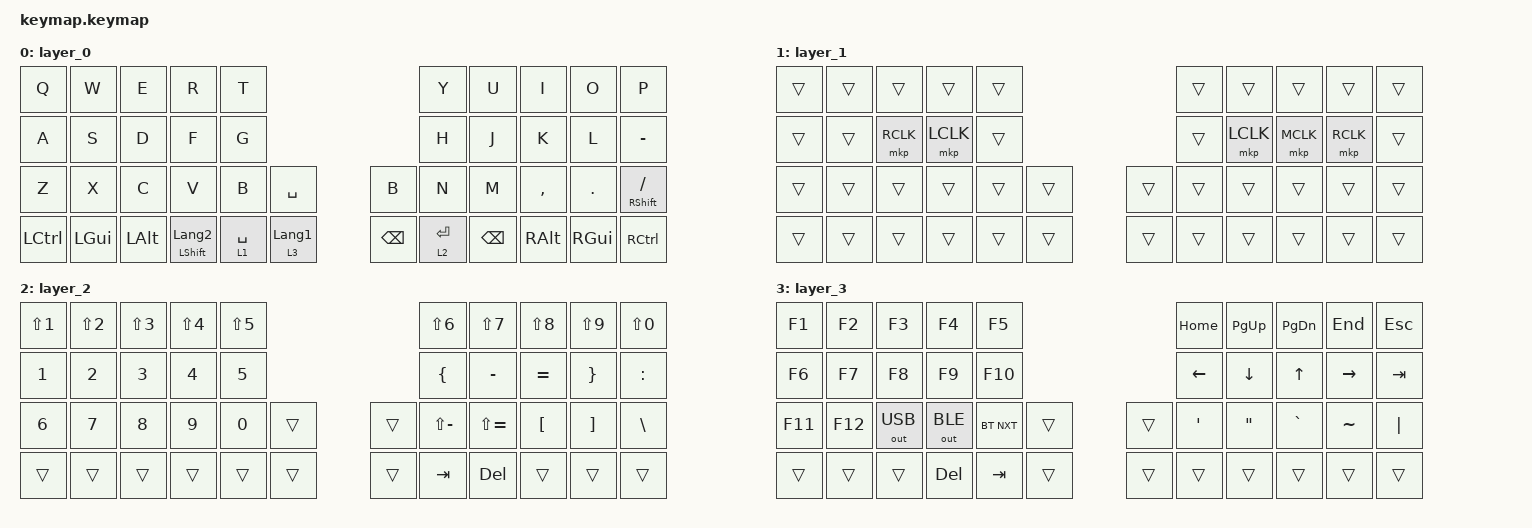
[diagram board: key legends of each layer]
#include <behaviors.dtsi>
#include <dt-bindings/zmk/bt.h>
#include <dt-bindings/zmk/keys.h>
#include <dt-bindings/zmk/outputs.h>
#include <dt-bindings/zmk/pointing.h>
#include <input/processors.dtsi>

/ {
    combos {
        compatible = "zmk,combos";

        bt_clear {
            bindings = <&bt BT_CLR>;
            key-positions = <16 17>;
            layers = <2>;
        };
    };


    keymap {
        compatible = "zmk,keymap";

        layer_0 {
            bindings = <
&kp Q      &kp W     &kp E     &kp R     &kp T                                                          &kp Y        &kp U     &kp I      &kp O     &kp P
&kp A      &kp S     &kp D     &kp F     &kp G                                                          &kp H        &kp J     &kp K      &kp L     &kp MINUS
&kp Z      &kp X     &kp C     &kp V     &kp B        &kp SPACE                  &kp B                  &kp N        &kp M     &kp COMMA  &kp DOT   &mt RIGHT_SHIFT FSLH
&kp LCTRL  &kp LGUI  &kp LALT  &mt LSHIFT LANGUAGE_2  &lt 1 SPACE  &lt 3 LANGUAGE_1            &kp BSPC  &lt 2 ENTER  &kp BSPC  &kp RALT   &kp RGUI  &kp RCTRL
            >;
        };

        layer_1 {
            bindings = <

&trans  &trans  &trans     &trans     &trans                  &trans  &trans     &trans     &trans  &trans
&trans  &trans  &mkp RCLK  &mkp LCLK  &trans                  &trans  &mkp LCLK  &mkp MCLK  &mkp RCLK  &trans
&trans  &trans  &trans     &trans     &trans  &trans  &trans  &trans  &trans     &trans     &trans  &trans
&trans  &trans  &trans     &trans     &trans  &trans  &trans  &trans  &trans     &trans     &trans  &trans
            >;
        };

        layer_2 {
            bindings = <
&kp LS(NUMBER_1)  &kp LS(NUMBER_2)  &kp LS(N3)  &kp LS(N4)  &kp LS(N5)                  &kp LS(N6)      &kp LS(N7)     &kp LS(N8)        &kp LS(N9)         &kp LS(N0)
&kp N1            &kp N2            &kp N3      &kp N4      &kp N5                      &kp LEFT_BRACE  &kp MINUS      &kp EQUAL         &kp RIGHT_BRACE    &kp COLON 
&kp N6            &kp N7            &kp N8      &kp N9      &kp N0      &trans  &trans  &kp LS(MINUS)   &kp LS(EQUAL)  &kp LEFT_BRACKET  &kp RIGHT_BRACKET  &kp BACKSLASH
&trans            &trans            &trans      &trans      &trans      &trans  &trans  &kp TAB         &kp DEL        &trans            &trans             &trans
            >;
        };

        layer_3 {
            bindings = <
&kp F1   &kp F2   &kp F3        &kp F4        &kp F5                      &kp HOME          &kp PG_UP  &kp PAGE_DOWN  &kp END    &kp ESCAPE
&kp F6   &kp F7   &kp F8        &kp F9        &kp F10                     &kp LEFT          &kp DOWN   &kp UP_ARROW   &kp RIGHT  &kp TAB
&kp F11  &kp F12  &out OUT_USB  &out OUT_BLE  &bt BT_NXT  &trans  &trans  &kp SINGLE_QUOTE  &kp DQT    &kp GRAVE      &kp TILDE  &kp PIPE
&trans   &trans   &trans        &kp DELETE    &kp TAB     &trans  &trans  &trans            &trans     &trans         &trans     &trans
            >;

        };
    };
};
&pointing_listener {
    scroller {
        layers = <3>; // Layer 3 にいる時だけ、ボールの動きを「スクロール」に変換
        input-processors = <&zip_xy_to_scroll_mapper &zip_scroll_transform 2>; // ★「2」で上下反転
    };
};
